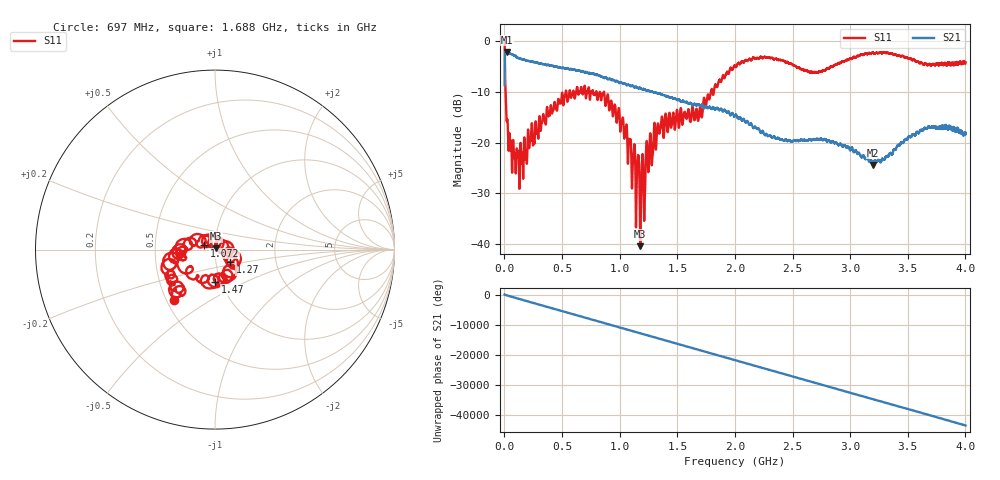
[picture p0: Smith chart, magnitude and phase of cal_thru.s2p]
!Created with skrf (http://scikit-rf.org).
# GHz S RI R 50.0
!freq ReS11 ImS11 ReS21 ImS21 ReS12 ImS12 ReS22 ImS22
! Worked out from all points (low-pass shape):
!   4000 points, 1 MHz to 4 GHz, reference 50 ohm
!   highest |S21| = -2.11 dB at 18 MHz (marker M1); lowest = -24.4 dB at 3.2 GHz (marker M2)
!   |S21| within 3 dB of the highest: 2.056 MHz to 460.8 MHz (458.8 MHz wide, 198 % of centre); 469.3 MHz to 477.7 MHz (8.376 MHz wide, 1.77 % of centre) (the widest 2 of 4)
!   lowest |S11| = -40.4 dB at 1.178 GHz (marker M3), VSWR 1.02, Z = 50.6 + j0.725 ohm
!   |S11| at or under -10 dB: 9.555 MHz to 530.5 MHz (521 MHz wide, 193 % of centre); 827.5 MHz to 862.1 MHz (34.62 MHz wide, 4.1 % of centre); 863.9 MHz to 1.792 GHz (927.7 MHz wide, 69.9 % of centre) (the widest 3 of 16)
!   S12 and S22 are empty: the file has one direction only
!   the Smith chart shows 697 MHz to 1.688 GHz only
!   S11 on the Smith chart (normalised r, x): 697 MHz: 0.54, -0.35; 1.072 GHz: 0.89, +0.04; 1.27 GHz: 1.17, -0.17; 1.47 GHz: 0.94, -0.35; 1.688 GHz: 0.69, -0.02
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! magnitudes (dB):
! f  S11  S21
! 1 MHz  0.1  -8.7
! 18 MHz  -15.5  -2.1
! 50 MHz  -21.6  -2.5
! 145 MHz  -23.0  -3.5
! 385 MHz  -14.5  -4.7
! 668 MHz  -9.1  -6.0
! 697 MHz  -8.8  -6.1
! 911 MHz  -13.6  -7.4
! 1.072 GHz  -23.9  -8.6
! 1.178 GHz  -40.4  -9.2
! 1.196 GHz  -22.6  -9.5
! 1.248 GHz  -25.8  -9.7
! 1.27 GHz  -19.1  -9.9
! 1.334 GHz  -16.3  -10.3
! 1.47 GHz  -14.9  -11.4
! 1.688 GHz  -14.6  -12.6
! 2.001 GHz  -4.8  -14.7
! 2.667 GHz  -6.0  -19.6
! 3.2 GHz  -2.3  -24.4
! 3.334 GHz  -2.3  -22.4
! 3.668 GHz  -4.6  -17.1
! 4 GHz  -4.1  -18.3
